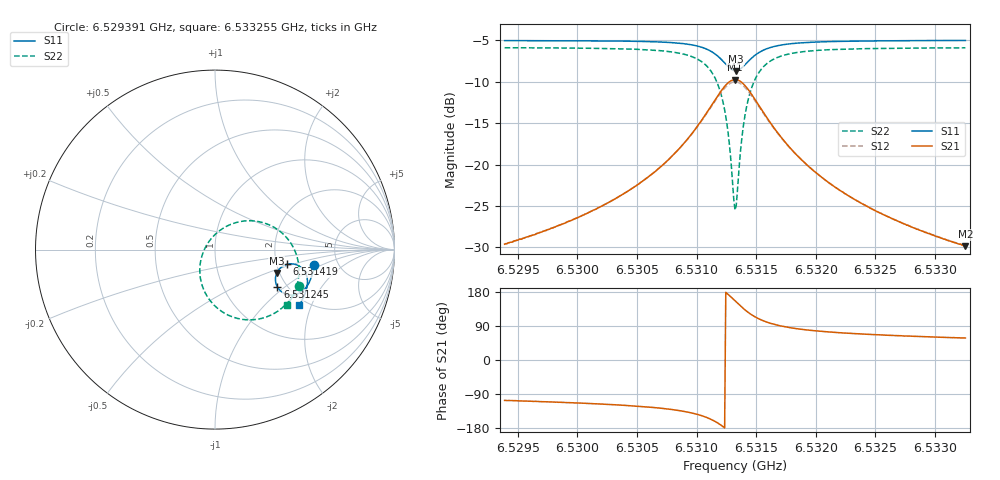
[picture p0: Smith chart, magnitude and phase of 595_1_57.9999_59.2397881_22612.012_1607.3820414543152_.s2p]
#  HZ  S  RI  R  50.00
! Rohde & Schwarz Vector Network Analyzer
! Rohde-Schwarz,ZNB20-2Port,1311601062101988,3.16
! Created: UTC 3/21/2024, 1:16:59 AM
! freq[Hz]  re:S11  im:S11  re:S21  im:S21  re:S12  im:S12  re:S22  im:S22
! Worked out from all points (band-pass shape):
!   401 points, 6.529391 GHz to 6.533255 GHz, reference 50 ohm
!   highest |S21| = -9.73 dB at 6.531323 GHz (marker M1); lowest = -29.9 dB at 6.533255 GHz (marker M2)
!   |S21| within 3 dB of the highest: 6.531131 GHz to 6.531517 GHz (386.5 kHz wide, 0.00592 % of centre)
!   lowest |S11| = -8.7 dB at 6.531332 GHz (marker M3), VSWR 2.17, Z = 96.7 - j29.2 ohm
!   |S11| at or under -10 dB: nowhere
!   |S22| runs from -25.5 to -5.9 dB; largest |S21 - S12| = 0.013
!   S11 on the Smith chart (normalised r, x): 6.529391 GHz: 3.32, -0.84; 6.531245 GHz: 1.78, -0.88; 6.531419 GHz: 2.28, -0.45; 6.533255 GHz: 1.83, -1.64
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6.5293906e9  0.554 -0.0864  -0.00944 -0.0316  -0.01 -0.0314  0.4657 -0.2028
6.5300379e9  0.5414 -0.1406  -0.02 -0.0448  -0.0209 -0.0443  0.4309 -0.2627
6.530405e9  0.5283 -0.1755  -0.0335 -0.0587  -0.0352 -0.0579  0.3946 -0.306
6.5306851e9  0.5102 -0.2065  -0.0568 -0.0762  -0.059 -0.0744  0.3424 -0.348
6.530917e9  0.4794 -0.2367  -0.1024 -0.0958  -0.1054 -0.0921  0.2508 -0.3854
6.5310812e9  0.4306 -0.2531  -0.1782 -0.0982  -0.1799 -0.0904  0.1136 -0.3803
6.5311778e9  0.382 -0.2424  -0.2526 -0.0622  -0.2502 -0.0515  -0.00838 -0.306
6.5312454e9  0.3474 -0.2075  -0.3019 0.00819  -0.2937 0.0183  -0.0774 -0.1793
6.5312744e9  0.3385 -0.1838  -0.3114 0.0519  -0.3009 0.06  -0.0846 -0.1054
6.531313e9  0.3385 -0.148  -0.3041 0.1158  -0.2919 0.1198  -0.0608 -0.00274
6.5313227e9  0.341 -0.139  -0.2985 0.1313  -0.2861 0.1343  -0.0486 0.0215
6.5313323e9  0.3443 -0.1304  -0.291 0.1463  -0.2788 0.1481  -0.0339 0.0445
6.531342e9  0.3485 -0.1221  -0.2823 0.1603  -0.2703 0.1612  -0.0172 0.0658
6.5313806e9  0.3724 -0.0958  -0.2369 0.2047  -0.2269 0.2024  0.065 0.1303
6.5314193e9  0.4016 -0.0818  -0.1839 0.2276  -0.1769 0.2237  0.1555 0.1586
6.5314869e9  0.4478 -0.0825  -0.1038 0.227  -0.1003 0.2234  0.2893 0.1429
6.5315835e9  0.4876 -0.1066  -0.036 0.1915  -0.0344 0.1897  0.3981 0.0679
6.5317284e9  0.51 -0.1445  0.00386 0.1407  0.00493 0.1397  0.4554 -0.0344
6.5319699e9  0.515 -0.189  0.0196 0.0912  0.0208 0.0908  0.4676 -0.1359
6.5322597e9  0.5085 -0.2249  0.0215 0.0621  0.0225 0.0617  0.4554 -0.203
6.5326172e9  0.4963 -0.2587  0.0202 0.0435  0.021 0.0432  0.4358 -0.2532
6.5332547e9  0.4707 -0.3072  0.017 0.0273  0.0177 0.027  0.4006 -0.3113
